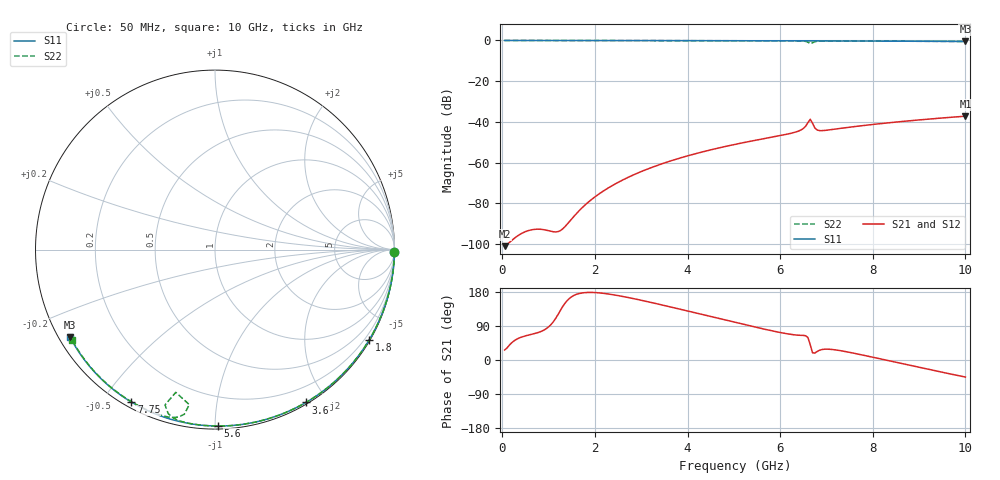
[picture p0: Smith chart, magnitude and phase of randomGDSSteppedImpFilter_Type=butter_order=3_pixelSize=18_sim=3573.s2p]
! freq	dB(S11)	phase(S11)	dB(S12)	phase(S12)
!  dB(S21)	phase(S21)	dB(S22)	phase(S22)
!S-par simulation data
#  GHz  S  DB  R 50
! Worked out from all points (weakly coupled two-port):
!   200 points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, 50 MHz to 10 GHz, reference 50 ohm
!   highest |S21| = -37.22 dB at 10 GHz (marker M1); lowest = -101.1 dB at 50 MHz (marker M2)
!   lowest |S11| = -0.5 dB at 10 GHz (marker M3), VSWR 34.39, Z = 1.57 - j14 ohm
!   |S11| at or under -10 dB: nowhere
!   |S22| runs from -1.7 to 0.0 dB; largest |S21 - S12| = 0
!   S11 on the Smith chart (normalised r, x): 50 MHz: open; 1.8 GHz: 0.03, -3.68; 3.6 GHz: 0.02, -1.76; 5.6 GHz: 0.02, -1.02; 7.75 GHz: 0.02, -0.59; 10 GHz: 0.03, -0.28
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0.05  -0.00 -0.9  -101.12 26.3  -101.12 26.3  -0.00 -0.9
0.9  -0.02 -15.3  -93.02 79.0  -93.02 79.0  -0.02 -15.4
1.75  -0.04 -29.6  -81.66 177.4  -81.66 177.4  -0.04 -29.6
1.8  -0.04 -30.4  -80.61 178.0  -80.61 178.0  -0.04 -30.4
1.85  -0.04 -31.2  -79.62 178.3  -79.62 178.3  -0.04 -31.2
2.2  -0.05 -37.0  -73.75 175.7  -73.75 175.7  -0.05 -37.0
2.55  -0.05 -42.6  -69.17 168.8  -69.17 168.8  -0.05 -42.6
3.4  -0.07 -56.2  -60.99 146.6  -60.99 146.6  -0.07 -56.2
3.6  -0.08 -59.3  -59.47 140.9  -59.47 140.9  -0.08 -59.3
4.3  -0.10 -70.0  -54.90 120.5  -54.90 120.5  -0.10 -70.0
5.05  -0.13 -81.1  -50.96 98.6  -50.96 98.6  -0.12 -81.2
5.6  -0.15 -89.1  -48.48 83.0  -48.48 83.0  -0.15 -89.2
6.4  -0.19 -100.3  -44.51 65.4  -44.51 65.4  -0.23 -101.8
6.5  -0.19 -101.7  -43.28 64.9  -43.28 64.9  -0.32 -104.3
6.6  -0.20 -103.1  -40.38 59.2  -40.38 59.2  -0.83 -107.8
6.65  -0.20 -103.8  -38.74 40.1  -38.74 40.1  -1.67 -105.4
6.7  -0.20 -104.5  -40.72 19.0  -40.72 19.0  -1.15 -99.4
6.75  -0.21 -105.2  -43.05 18.3  -43.05 18.3  -0.60 -100.5
6.85  -0.21 -106.5  -44.31 25.7  -44.31 25.7  -0.34 -103.6
7.75  -0.28 -118.7  -41.94 13.9  -41.94 13.9  -0.28 -117.6
8.35  -0.33 -126.7  -40.45 -2.1  -40.45 -2.1  -0.33 -125.7
10  -0.51 -148.8  -37.22 -44.9  -37.22 -44.9  -0.52 -147.8
